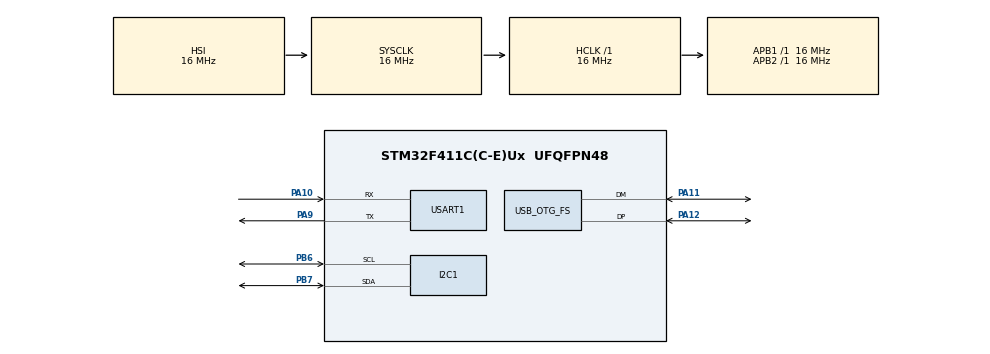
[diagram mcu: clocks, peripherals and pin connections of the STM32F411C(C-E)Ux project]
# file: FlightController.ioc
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FREERTOS.Tasks01=defaultTask,24,128,StartDefaultTask,Default,NULL,Dynamic,NULL,NULL
Mcu.Family=STM32F4
Mcu.Name=STM32F411C(C-E)Ux
Mcu.Package=UFQFPN48
NVIC.OTG_FS_IRQn=true\:5\:0\:false\:false\:true\:true\:false\:true\:true
NVIC.PriorityGroup=NVIC_PRIORITYGROUP_4
NVIC.TIM1_UP_TIM10_IRQn=true\:15\:0\:false\:false\:true\:false\:false\:true\:true
NVIC.TimeBase=TIM1_UP_TIM10_IRQn
NVIC.TimeBaseIP=TIM1
PA10.Mode=Asynchronous
PA10.Signal=USART1_RX
PA11.Mode=Device_Only
PA11.Signal=USB_OTG_FS_DM
PA12.Mode=Device_Only
PA12.Signal=USB_OTG_FS_DP
PA9.Mode=Asynchronous
PA9.Signal=USART1_TX
PB6.Mode=I2C
PB6.Signal=I2C1_SCL
PB7.Mode=I2C
PB7.Signal=I2C1_SDA
PH0\ -\ OSC_IN.Mode=HSE-External-Oscillator
PH0\ -\ OSC_IN.Signal=RCC_OSC_IN
PH1\ -\ OSC_OUT.Mode=HSE-External-Oscillator
PH1\ -\ OSC_OUT.Signal=RCC_OSC_OUT
ProjectManager.HeapSize=0x200
ProjectManager.StackSize=0x400
ProjectManager.TargetToolchain=CMake
RCC.48MHZClocksFreq_Value=48000000
RCC.AHBFreq_Value=16000000
RCC.APB1Freq_Value=16000000
RCC.APB2Freq_Value=16000000
RCC.CortexFreq_Value=16000000
RCC.HSE_VALUE=25000000
RCC.HSI_VALUE=16000000
RCC.LSE_VALUE=32768
RCC.PLLM=15
RCC.PLLN=144
RCC.PLLQ=5
RCC.SYSCLKFreq_VALUE=16000000
RCC.VCOOutputFreq_Value=240000000
USART1.VirtualMode=VM_ASYNC
USB_DEVICE.CLASS_NAME_FS=CDC
USB_DEVICE.VirtualMode=Cdc
USB_DEVICE.VirtualModeFS=Cdc_FS
USB_OTG_FS.VirtualMode=Device_Only
VP_FREERTOS_VS_CMSIS_V2.Mode=CMSIS_V2
VP_SYS_VS_tim1.Mode=TIM1
VP_USB_DEVICE_VS_USB_DEVICE_CDC_FS.Mode=CDC_FS
board=custom

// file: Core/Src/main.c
/* USER CODE BEGIN Header */
/**
  ******************************************************************************
  * @file           : main.c
  * @brief          : Main program body
  ******************************************************************************
  * @attention
  *
  * Copyright (c) 2026 STMicroelectronics.
  * All rights reserved.
  *
  * This software is licensed under terms that can be found in the LICENSE file
  * in the root directory of this software component.
  * If no LICENSE file comes with this software, it is provided AS-IS.
  *
  ******************************************************************************
  */
/* USER CODE END Header */
#include "main.h"
#include "cmsis_os.h"
#include "cmsis_os2.h"
#include "projdefs.h"
#include "stm32f4xx_hal_i2c.h"
#include "usb_device.h"

/* USER CODE BEGIN Includes */

#include "FreeRTOS.h"
#include "usbd_cdc.h"
#include "usbd_cdc_if.h"
#include "GyroData.h"
#include "filter.h"
/* USER CODE END Includes */

/* USER CODE BEGIN PD */

#define SENSOR_ADDRESS (0x68 << 1)
#define WHO_AM_I 0x75
#define MEM_START_ADDRESS 0x3B
#define PWR_MGMT 0x6B
#define READ_DELAY 5
/* USER CODE END PD */

I2C_HandleTypeDef hi2c1;

UART_HandleTypeDef huart1;

/* Definitions for defaultTask */
osThreadId_t defaultTaskHandle;
const osThreadAttr_t defaultTask_attributes = {
  .name = "defaultTask",
  .stack_size = 128 * 4,
  .priority = (osPriority_t) osPriorityNormal,
};
/* USER CODE BEGIN PV */

osThreadId_t sensorTask;
const osThreadAttr_t sensorTask_attrs = {
  .name = "sensorTask",
  .stack_size = 2048,
  .priority = (osPriority_t)osPriorityNormal,
};

/* USER CODE END PV */

void SystemClock_Config(void);
static void MX_GPIO_Init(void);
static void MX_I2C1_Init(void);
static void MX_USART1_UART_Init(void);
void StartDefaultTask(void *argument);

/* USER CODE BEGIN PFP */
void SensorTask(void*);
void LogMessage(const char* msg) {
  while(CDC_Transmit_FS((uint8_t*)msg, strlen(msg) - 1) == USBD_BUSY){}
}

/* USER CODE END PFP */

int main(void)
{

  /* MCU Configuration--------------------------------------------------------*/

  /* Reset of all peripherals, Initializes the Flash interface and the Systick. */
  HAL_Init();

  /* Configure the system clock */
  SystemClock_Config();

  /* Initialize all configured peripherals */
  MX_GPIO_Init();
  MX_I2C1_Init();
  MX_USART1_UART_Init();

  /* Init scheduler */
  osKernelInitialize();

  /* Create the thread(s) */
  /* creation of defaultTask */
  defaultTaskHandle = osThreadNew(StartDefaultTask, NULL, &defaultTask_attributes);
  sensorTask = osThreadNew(SensorTask, NULL, &sensorTask_attrs);

  /* Start scheduler */
  osKernelStart();

  /* We should never get here as control is now taken by the scheduler */

  /* Infinite loop */
  while (1)
  {

  }
}

void SystemClock_Config(void)
{
  RCC_OscInitTypeDef RCC_OscInitStruct = {0};
  RCC_ClkInitTypeDef RCC_ClkInitStruct = {0};

  /** Configure the main internal regulator output voltage
  */
  __HAL_RCC_PWR_CLK_ENABLE();
  __HAL_PWR_VOLTAGESCALING_CONFIG(PWR_REGULATOR_VOLTAGE_SCALE1);

  /** Initializes the RCC Oscillators according to the specified parameters
  * in the RCC_OscInitTypeDef structure.
  */
  RCC_OscInitStruct.OscillatorType = RCC_OSCILLATORTYPE_HSI|RCC_OSCILLATORTYPE_HSE;
  RCC_OscInitStruct.HSEState = RCC_HSE_ON;
  RCC_OscInitStruct.HSIState = RCC_HSI_ON;
  RCC_OscInitStruct.HSICalibrationValue = RCC_HSICALIBRATION_DEFAULT;
  RCC_OscInitStruct.PLL.PLLState = RCC_PLL_ON;
  RCC_OscInitStruct.PLL.PLLSource = RCC_PLLSOURCE_HSE;
  RCC_OscInitStruct.PLL.PLLM = 15;
  RCC_OscInitStruct.PLL.PLLN = 144;
  RCC_OscInitStruct.PLL.PLLP = RCC_PLLP_DIV2;
  RCC_OscInitStruct.PLL.PLLQ = 5;
  if (HAL_RCC_OscConfig(&RCC_OscInitStruct) != HAL_OK)
  {
    Error_Handler();
  }

  /** Initializes the CPU, AHB and APB buses clocks
  */
  RCC_ClkInitStruct.ClockType = RCC_CLOCKTYPE_HCLK|RCC_CLOCKTYPE_SYSCLK
                              |RCC_CLOCKTYPE_PCLK1|RCC_CLOCKTYPE_PCLK2;
  RCC_ClkInitStruct.SYSCLKSource = RCC_SYSCLKSOURCE_HSI;
  RCC_ClkInitStruct.AHBCLKDivider = RCC_SYSCLK_DIV1;
  RCC_ClkInitStruct.APB1CLKDivider = RCC_HCLK_DIV1;
  RCC_ClkInitStruct.APB2CLKDivider = RCC_HCLK_DIV1;

  if (HAL_RCC_ClockConfig(&RCC_ClkInitStruct, FLASH_LATENCY_0) != HAL_OK)
  {
    Error_Handler();
  }
}

static void MX_I2C1_Init(void)
{

  hi2c1.Instance = I2C1;
  hi2c1.Init.ClockSpeed = 100000;
  hi2c1.Init.DutyCycle = I2C_DUTYCYCLE_2;
  hi2c1.Init.OwnAddress1 = 0;
  hi2c1.Init.AddressingMode = I2C_ADDRESSINGMODE_7BIT;
  hi2c1.Init.DualAddressMode = I2C_DUALADDRESS_DISABLE;
  hi2c1.Init.OwnAddress2 = 0;
  hi2c1.Init.GeneralCallMode = I2C_GENERALCALL_DISABLE;
  hi2c1.Init.NoStretchMode = I2C_NOSTRETCH_DISABLE;
  if (HAL_I2C_Init(&hi2c1) != HAL_OK)
  {
    Error_Handler();
  }

}

static void MX_USART1_UART_Init(void)
{

  huart1.Instance = USART1;
  huart1.Init.BaudRate = 115200;
  huart1.Init.WordLength = UART_WORDLENGTH_8B;
  huart1.Init.StopBits = UART_STOPBITS_1;
  huart1.Init.Parity = UART_PARITY_NONE;
  huart1.Init.Mode = UART_MODE_TX_RX;
  huart1.Init.HwFlowCtl = UART_HWCONTROL_NONE;
  huart1.Init.OverSampling = UART_OVERSAMPLING_16;
  if (HAL_UART_Init(&huart1) != HAL_OK)
  {
    Error_Handler();
  }

}

static void MX_GPIO_Init(void)
{

  /* GPIO Ports Clock Enable */
  __HAL_RCC_GPIOH_CLK_ENABLE();
  __HAL_RCC_GPIOA_CLK_ENABLE();
  __HAL_RCC_GPIOB_CLK_ENABLE();

}
/* USER CODE BEGIN 4 */

void SensorTask(void*) {

  uint8_t check = 0;
  vTaskDelay(pdMS_TO_TICKS(1));
  HAL_I2C_Mem_Read(&hi2c1, SENSOR_ADDRESS, WHO_AM_I, I2C_MEMADD_SIZE_8BIT, &check, 1, 1000);

  if(check != 0x70) {
    LogMessage("Sensor was not detected!");
    //return;
  }

  // Sensor initialize
  uint8_t pwrOnData = 0;
  HAL_I2C_Mem_Write(&hi2c1, SENSOR_ADDRESS, PWR_MGMT, I2C_MEMADD_SIZE_8BIT, &pwrOnData, 1, 1000);

  char dataMsg[100];
  struct MPU6050Data data;
  while(1) {
    HAL_I2C_Mem_Read(&hi2c1, SENSOR_ADDRESS, MEM_START_ADDRESS, I2C_MEMADD_SIZE_8BIT, (uint8_t*)(&data), 14, 1000);
    PopulateRealValues(&data);
    //ApplyMadgwickFilter(&data);
    snprintf(dataMsg, sizeof(dataMsg), "Gyro Roll: %.4f Pitch: %.4f Yaw: %.4f Temp: %.4f\r\n", data.gyro_x, data.gyro_y, data.gyro_z, data.temp);
    LogMessage(dataMsg);
    // snprintf(dataMsg, sizeof(dataMsg), "Gyro Roll: %f Pitch: %f Yaw: %f \n", data.roll, data.pitch, data.yaw);
    // LogMessage(dataMsg);
    vTaskDelay(pdMS_TO_TICKS(READ_DELAY));
  }
}

/* USER CODE END 4 */

void StartDefaultTask(void *argument)
{
  /* init code for USB_DEVICE */
  MX_USB_DEVICE_Init();
  for(;;)
  {
    osDelay(1);
  }
}

void HAL_TIM_PeriodElapsedCallback(TIM_HandleTypeDef *htim)
{
  if (htim->Instance == TIM1)
  {
    HAL_IncTick();
  }
}

void Error_Handler(void)
{
  __disable_irq();
  while (1)
  {
  }
}
